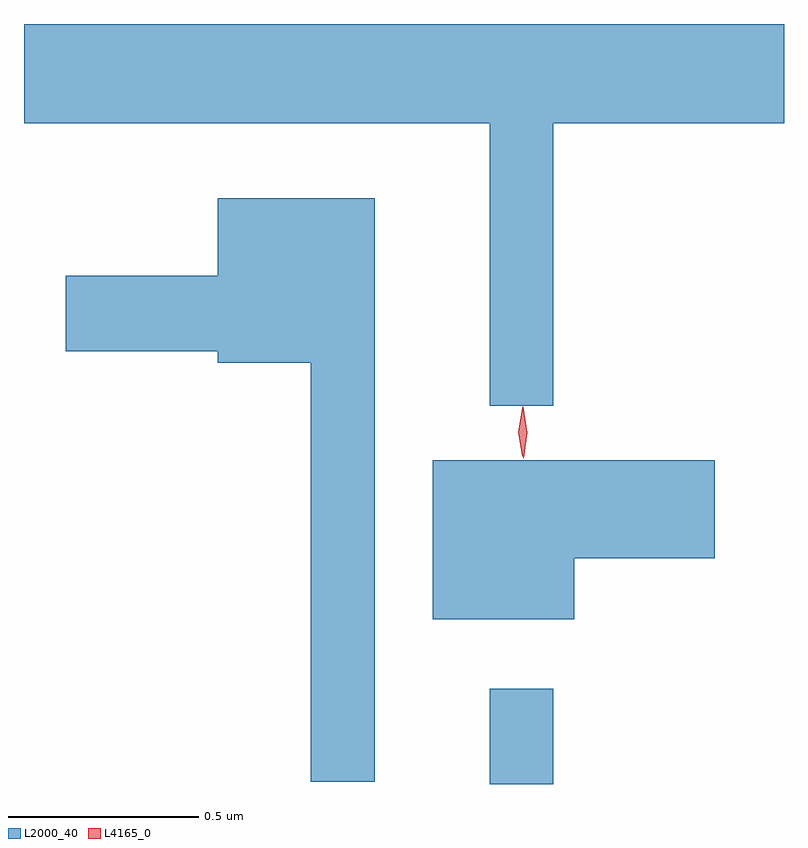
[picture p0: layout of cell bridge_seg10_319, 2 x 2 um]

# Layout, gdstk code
import gdstk
lib = gdstk.Library(unit=1e-6, precision=1e-09)
def R(c, l, rs):  # rectangles x0, y0, x1, y1
    for r in rs: c.add(gdstk.rectangle(r[:2], r[2:], *l))
def P(c, l, *ps):  # polygons
    for p in ps: c.add(gdstk.Polygon(p, *l))
L2000_40 = (2000, 40)
L4165_0 = (4165, 0)

bridge_seg10_319 = lib.new_cell('bridge_seg10_319')
R(bridge_seg10_319, L2000_40, [(1449.591,2169.897,1449.759,2170.148)])
P(bridge_seg10_319, L2000_40, [(1449.759,2171.636),(1450.366,2171.636),(1450.366,2171.897),(1448.366,2171.897),(1448.366,2171.636),(1449.591,2171.636),(1449.591,2170.893),(1449.759,2170.893)],
  [(1449.289,2171.439),(1448.876,2171.439),(1448.876,2171.234),(1448.476,2171.234),(1448.476,2171.036),(1448.876,2171.036),(1448.876,2171.006),(1449.121,2171.006),(1449.121,2169.903),(1449.289,2169.903)],
  [(1449.814,2170.491),(1450.184,2170.491),(1450.184,2170.749),(1449.441,2170.749),(1449.441,2170.331),(1449.814,2170.331)])
P(bridge_seg10_319, L4165_0, [(1449.68,2170.754),(1449.67,2170.822),(1449.679,2170.89),(1449.68,2170.89),(1449.68,2170.89),(1449.69,2170.822),(1449.681,2170.754),(1449.681,2170.754)],
  [(1449.677,2170.76),(1449.677,2170.76),(1449.667,2170.823),(1449.677,2170.886),(1449.677,2170.887),(1449.678,2170.886),(1449.687,2170.823),(1449.678,2170.76)])

lib.write_gds('bridge_seg10_319.gds')
